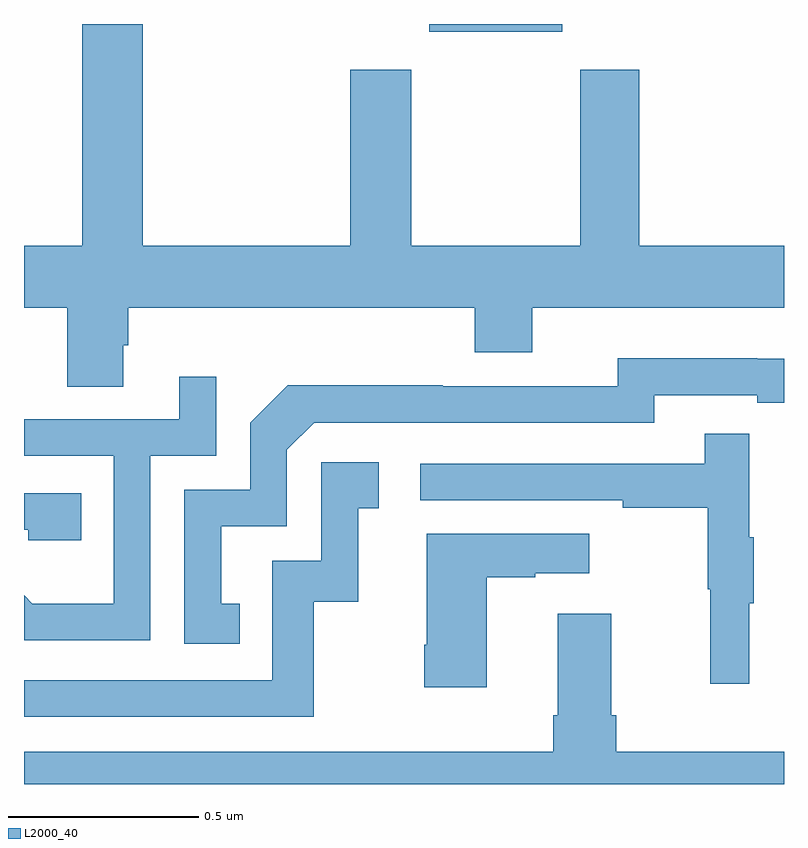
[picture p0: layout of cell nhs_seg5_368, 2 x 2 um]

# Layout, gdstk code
import gdstk
lib = gdstk.Library(unit=1e-6, precision=1e-09)
def R(c, l, rs):  # rectangles x0, y0, x1, y1
    for r in rs: c.add(gdstk.rectangle(r[:2], r[2:], *l))
def P(c, l, *ps):  # polygons
    for p in ps: c.add(gdstk.Polygon(p, *l))
L2000_40 = (2000, 40)

nhs_seg5_368 = lib.new_cell('nhs_seg5_368')
R(nhs_seg5_368, L2000_40, [(116.066,898.778,116.416,898.799)])
P(nhs_seg5_368, L2000_40, [(115.261,897.954),(115.274,897.954),(115.274,898.052),(116.186,898.052),(116.186,897.935),(116.338,897.935),(116.338,898.052),(117,898.052),(117,898.216),(116.619,898.216),(116.619,898.678),(116.464,898.678),(116.464,898.216),(116.019,898.216),(116.019,898.678),(115.859,898.678),(115.859,898.216),(115.313,898.216),(115.313,898.799),(115.153,898.799),(115.153,898.216),(115,898.216),(115,898.052),(115.114,898.052),(115.114,897.844),(115.261,897.844)],
  [(115.568,897.273),(115.519,897.273),(115.519,897.477),(115.692,897.477),(115.692,897.678),(115.764,897.75),(116.658,897.75),(116.658,897.822),(116.93,897.822),(116.93,897.802),(117,897.802),(117,897.918),(116.93,897.918),(116.93,897.919),(116.562,897.919),(116.562,897.846),(116.102,897.846),(116.102,897.848),(115.694,897.848),(115.596,897.75),(115.596,897.573),(115.422,897.573),(115.422,897.168),(115.568,897.168)],
  [(115.332,897.663),(115.506,897.663),(115.506,897.871),(115.409,897.871),(115.409,897.759),(115,897.759),(115,897.663),(115.236,897.663),(115.236,897.274),(115.022,897.274),(115,897.296),(115,897.177),(115.332,897.177)],
  [(116.909,897.275),(116.92,897.275),(116.92,897.449),(116.909,897.449),(116.909,897.721),(116.791,897.721),(116.791,897.642),(116.043,897.642),(116.043,897.546),(116.575,897.546),(116.575,897.526),(116.799,897.526),(116.799,897.312),(116.806,897.312),(116.806,897.063),(116.909,897.063)],
  [(115.762,897.279),(115.88,897.279),(115.88,897.525),(115.933,897.525),(115.933,897.646),(115.782,897.646),(115.782,897.387),(115.653,897.387),(115.653,897.072),(115,897.072),(115,896.976),(115.762,896.976)],
  [(115.151,897.564),(115,897.564),(115,897.468),(115.011,897.468),(115.011,897.441),(115.151,897.441)],
  [(116.218,897.343),(116.345,897.343),(116.345,897.353),(116.488,897.353),(116.488,897.457),(116.06,897.457),(116.06,897.166),(116.053,897.166),(116.053,897.054),(116.218,897.054)],
  [(117,896.884),(116.558,896.884),(116.558,896.98),(116.545,896.98),(116.545,897.247),(116.405,897.247),(116.405,896.98),(116.393,896.98),(116.393,896.884),(115,896.884),(115,896.799),(117,896.799)])

lib.write_gds('nhs_seg5_368.gds')
